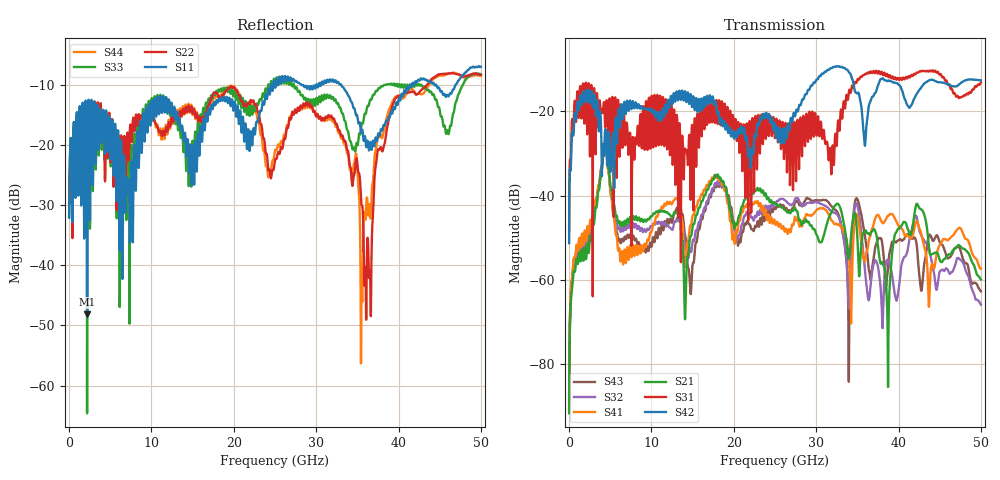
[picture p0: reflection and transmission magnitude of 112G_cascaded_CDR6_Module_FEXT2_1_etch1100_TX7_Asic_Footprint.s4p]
! Created Tue Feb 26 16:51:18 2019
# hz S ma R 50
! 4 Port Network Data from SP1.SP block
! freq  magS11  angS11  magS12  angS12  magS13  angS13  magS14  angS14
!  magS21  angS21  magS22  angS22  magS23  angS23  magS24  angS24
!  magS31  angS31  magS32  angS32  magS33  angS33  magS34  angS34
!  magS41  angS41  magS42  angS42  magS43  angS43  magS44  angS44
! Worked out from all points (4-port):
!   5000 points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, 10 MHz to 50 GHz, reference 50 ohm
!   strongest paths, dB at 10 MHz, 12.51 GHz, 25.01 GHz, 37.51 GHz, 50 GHz:
!     S42: -51.3, -18.1, -23.3, -13.9, -12.7
!     S31: -48.4, -22.3, -26.2, -10.9, -13.2
!     S21: -91.6, -45.0, -42.1, -52.1, -59.9
!     S41: -88.7, -41.9, -46.4, -44.6, -57.3
!     S32: -90.7, -48.1, -42.0, -56.9, -65.8
!     S43: -88.8, -46.4, -43.1, -50.1, -62.7
!   lowest |S11| = -48.1 dB at 2.19 GHz (marker M1), VSWR 1.01, Z = 50 + j0.391 ohm
!   |S11| at or under -10 dB: start of sweep to 24.51 GHz; 33.03 GHz to 41.37 GHz (8.341 GHz wide, 22.4 % of centre); 44.57 GHz to 46.92 GHz (2.345 GHz wide, 5.13 % of centre)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
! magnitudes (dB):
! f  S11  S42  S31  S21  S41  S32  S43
! 10 MHz  -32.0  -51.3  -48.4  -91.6  -88.7  -90.7  -88.8
! 2.19 GHz  -48.1  -17.2  -25.0  -51.9  -48.2  -50.4  -48.7
! 4.36 GHz  -21.1  -25.0  -22.9  -28.0  -28.0  -28.2  -28.1
! 14.13 GHz  -18.6  -15.7  -29.1  -67.1  -56.3  -52.3  -49.8
! 17.88 GHz  -12.6  -19.0  -17.4  -35.5  -35.8  -37.3  -38.0
! 36.01 GHz  -19.4  -26.1  -11.1  -48.3  -54.7  -59.4  -50.8
! 50 GHz  -7.0  -12.7  -13.2  -59.9  -57.3  -65.8  -62.7
